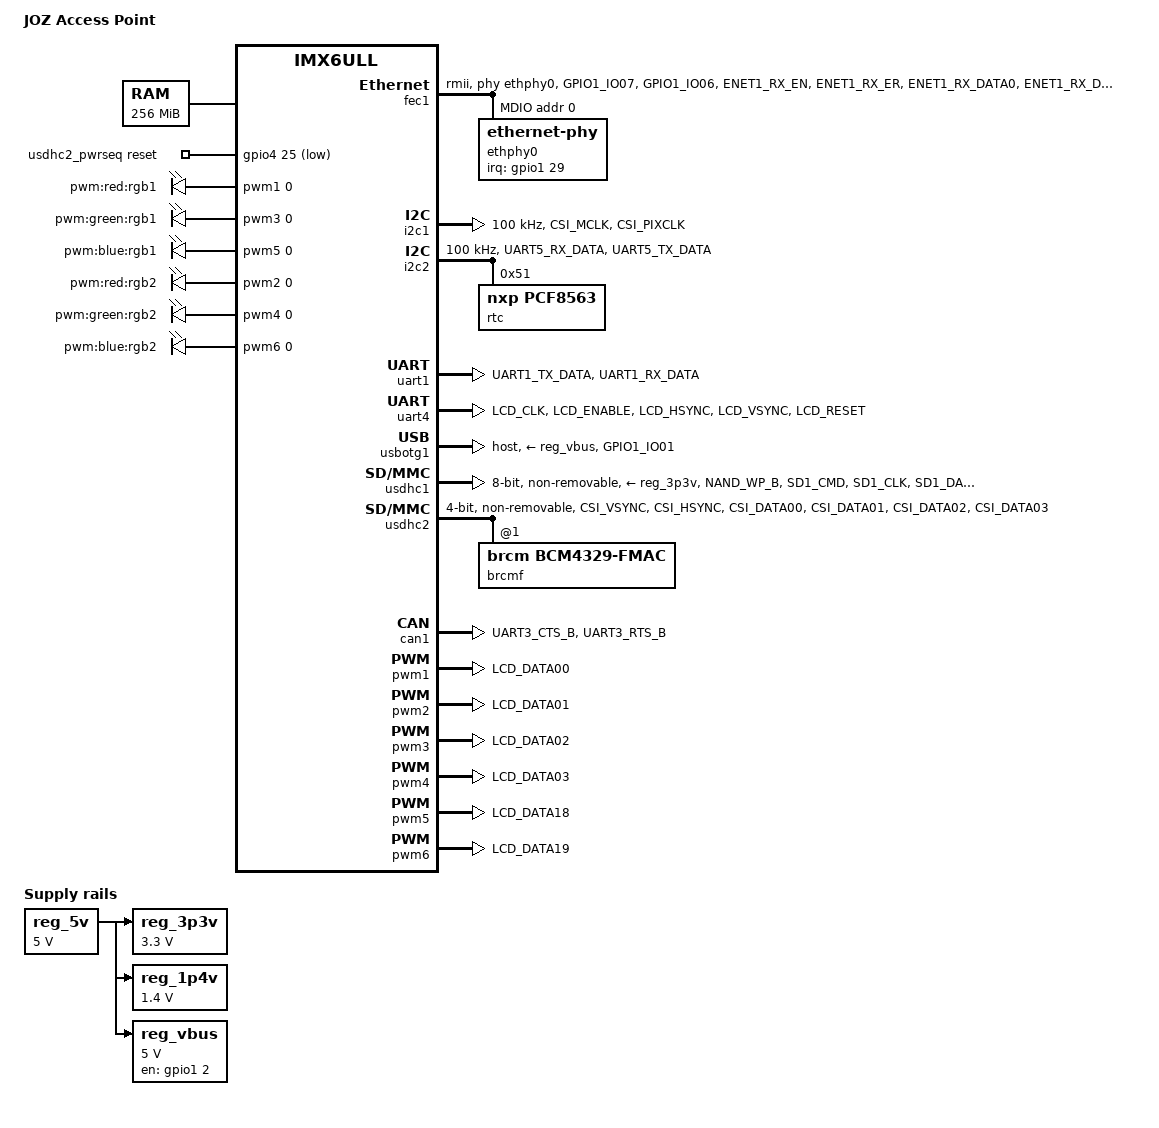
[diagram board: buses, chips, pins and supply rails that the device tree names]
/*
 * Copyright (C) 2020 Protonic Holland
 *
 * This program is free software; you can redistribute it and/or
 * modify it under the terms of the GNU General Public License as
 * published by the Free Software Foundation; either version 2 of
 * the License, or (at your option) any later version.
 *
 * This program is distributed in the hope that it will be useful,
 * but WITHOUT ANY WARRANTY; without even the implied warranty of
 * MERCHANTABILITY or FITNESS FOR A PARTICULAR PURPOSE.  See the
 * GNU General Public License for more details.
 */

/dts-v1/;

#include <arm/nxp/imx/imx6ull.dtsi>
#include <dt-bindings/gpio/gpio.h>

/ {
	model = "JOZ Access Point";
	compatible = "joz,jozacp", "fsl,imx6ull";

	chosen {
		stdout-path = &uart1;
	};

	memory@80000000 {
		device_type = "memory";
		reg = <0x80000000 0x10000000>;
	};

	reg_5v: 5v-regulator {
		compatible = "regulator-fixed";
		regulator-name = "regulator-5V";
		regulator-min-microvolt = <5000000>;
		regulator-max-microvolt = <5000000>;
		regulator-always-on;
	};

	reg_3p3v: 3p3-regulator {
		compatible = "regulator-fixed";
		regulator-name = "regulator-3P3V";
		regulator-min-microvolt = <3300000>;
		regulator-max-microvolt = <3300000>;
		vin-supply = <&reg_5v>;
		regulator-always-on;
	};

	reg_1p4v: 1p4-regulator {
		compatible = "regulator-fixed";
		regulator-name = "regulator-1P4V";
		regulator-min-microvolt = <1400000>;
		regulator-max-microvolt = <1400000>;
		vin-supply = <&reg_5v>;
		regulator-always-on;
	};

	reg_vbus: vbus-regulator {
		pinctrl-names = "default";
		pinctrl-0 = <&pinctrl_vbus>;
		compatible = "regulator-fixed";
		regulator-name = "regulator-vbus";
		regulator-min-microvolt = <5000000>;
		regulator-max-microvolt = <5000000>;
		vin-supply = <&reg_5v>;
		gpio = <&gpio1 2 GPIO_ACTIVE_HIGH>;
		enable-active-high;
	};

	usdhc2_pwrseq: usdhc2-pwrseq {
		compatible = "mmc-pwrseq-simple";
		pinctrl-names = "default";
		pinctrl-0 = <&pinctrl_wlan0_reg_on>;
		reset-gpios = <&gpio4 25 GPIO_ACTIVE_LOW>;
	};

	pwm_leds {
		compatible = "pwm-leds";

		rgb1_red {
			label = "pwm:red:rgb1";
			pwms = <&pwm1 0 10000000 0>;
			max-brightness = <255>;
		};

		rgb1_green {
			label = "pwm:green:rgb1";
			pwms = <&pwm3 0 10000000 0>;
			max-brightness = <255>;
		};

		rgb1_blue {
			label = "pwm:blue:rgb1";
			pwms = <&pwm5 0 10000000 0>;
			max-brightness = <255>;
			linux,default-trigger = "heartbeat";
		};

		rgb2_red {
			label = "pwm:red:rgb2";
			pwms = <&pwm2 0 10000000 0>;
			max-brightness = <255>;
		};

		rgb2_green {
			label = "pwm:green:rgb2";
			pwms = <&pwm4 0 10000000 0>;
			max-brightness = <255>;
			linux,default-trigger = "netdev";
		};

		rgb2_blue {
			label = "pwm:blue:rgb2";
			pwms = <&pwm6 0 10000000 0>;
			max-brightness = <255>;
		};
	};
};

&cpu0 {
	clock-frequency = <792000000>;
};

&iomuxc {
	pinctrl-names = "default";
	pinctrl-0 = <&pinctrl_hog>;

	pinctrl_hog: hoggrp {
		fsl,pins = <
			/* HW Revision */
			MX6UL_PAD_ENET2_RX_DATA0__GPIO2_IO08	0x1b0b0
			MX6UL_PAD_ENET2_RX_DATA1__GPIO2_IO09	0x1b0b0
			MX6UL_PAD_ENET2_RX_EN__GPIO2_IO10	0x1b0b0

			/* HW ID */
			MX6UL_PAD_ENET2_TX_DATA0__GPIO2_IO11	0x1b0b0
			MX6UL_PAD_ENET2_TX_DATA1__GPIO2_IO12	0x1b0b0
			MX6UL_PAD_ENET2_TX_EN__GPIO2_IO13	0x1b0b0
			MX6UL_PAD_ENET2_TX_CLK__GPIO2_IO14	0x1b0b0
			MX6UL_PAD_ENET2_RX_ER__GPIO2_IO15	0x1b0b0

			/* Digital inputs */
			MX6UL_PAD_GPIO1_IO03__GPIO1_IO03	0x11000
			MX6UL_PAD_GPIO1_IO04__GPIO1_IO04	0x11000
			MX6UL_PAD_GPIO1_IO05__GPIO1_IO05	0x11000
			MX6UL_PAD_GPIO1_IO08__GPIO1_IO08	0x11000
			MX6UL_PAD_GPIO1_IO09__GPIO1_IO09	0x11000

			/* Isolated outputs */
			MX6UL_PAD_UART2_TX_DATA__GPIO1_IO20	0x01020
			MX6UL_PAD_UART2_RX_DATA__GPIO1_IO21	0x01020
			MX6UL_PAD_UART2_RTS_B__GPIO1_IO23	0x01020
			MX6UL_PAD_UART3_TX_DATA__GPIO1_IO24	0x01020
			MX6UL_PAD_UART3_RX_DATA__GPIO1_IO25	0x01020
		>;
	};

	pinctrl_enet1: enet1grp {
		fsl,pins = <
			MX6UL_PAD_GPIO1_IO07__ENET1_MDC	 0x1b0b0
			MX6UL_PAD_GPIO1_IO06__ENET1_MDIO	0x1b0b0
			MX6UL_PAD_ENET1_RX_EN__ENET1_RX_EN	0x1b0b0
			MX6UL_PAD_ENET1_RX_ER__ENET1_RX_ER	0x1b0b0
			MX6UL_PAD_ENET1_RX_DATA0__ENET1_RDATA00	0x1b0b0
			MX6UL_PAD_ENET1_RX_DATA1__ENET1_RDATA01	0x1b0b0
			MX6UL_PAD_ENET1_TX_EN__ENET1_TX_EN	0x1b0b0
			MX6UL_PAD_ENET1_TX_DATA0__ENET1_TDATA00	0x1b0b0
			MX6UL_PAD_ENET1_TX_DATA1__ENET1_TDATA01	0x1b0b0
			MX6UL_PAD_ENET1_TX_CLK__ENET1_REF_CLK1	0x4001b031
		>;
	};

	pinctrl_can1: can1grp {
		fsl,pins = <
			MX6UL_PAD_UART3_CTS_B__FLEXCAN1_TX	0x1b0b0
			MX6UL_PAD_UART3_RTS_B__FLEXCAN1_RX	0x1b0b0
		>;
	};

	pinctrl_i2c1: i2c1grp {
		fsl,pins = <
			MX6UL_PAD_CSI_MCLK__I2C1_SDA		0x4001f8b1
			MX6UL_PAD_CSI_PIXCLK__I2C1_SCL		0x4001f8b1
		>;
	};

	pinctrl_i2c2: i2c2grp {
		fsl,pins = <
			MX6UL_PAD_UART5_RX_DATA__I2C2_SDA	0x4001f8b1
			MX6UL_PAD_UART5_TX_DATA__I2C2_SCL	0x4001f8b1
		>;
	};

	pinctrl_pwm1: pwm1-grp {
		fsl,pins = <
			MX6UL_PAD_LCD_DATA00__PWM1_OUT		0x01010
		>;
	};

	pinctrl_pwm2: pwm2-grp {
		fsl,pins = <
			MX6UL_PAD_LCD_DATA01__PWM2_OUT		0x01010
		>;
	};

	pinctrl_pwm3: pwm3-grp {
		fsl,pins = <
			MX6UL_PAD_LCD_DATA02__PWM3_OUT		0x01010
		>;
	};

	pinctrl_pwm4: pwm4-grp {
		fsl,pins = <
			MX6UL_PAD_LCD_DATA03__PWM4_OUT		0x01010
		>;
	};

	pinctrl_pwm5: pwm5-grp {
		fsl,pins = <
			MX6UL_PAD_LCD_DATA18__PWM5_OUT		0x01010
		>;
	};

	pinctrl_pwm6: pwm6-grp {
		fsl,pins = <
			MX6UL_PAD_LCD_DATA19__PWM6_OUT		0x01010
		>;
	};

	pinctrl_uart1: uart1grp {
		fsl,pins = <
			MX6UL_PAD_UART1_TX_DATA__UART1_DCE_TX	0x1b0b1
			MX6UL_PAD_UART1_RX_DATA__UART1_DCE_RX	0x1b0b1
		>;
	};

	pinctrl_uart2: uart2grp {
		fsl,pins = <
			MX6UL_PAD_NAND_DATA04__UART2_DCE_TX	0x1b0b0
			MX6UL_PAD_NAND_DATA05__UART2_DCE_RX	0x1b0b0
			MX6UL_PAD_NAND_DATA06__GPIO4_IO08	0x1b0b0
			MX6UL_PAD_NAND_DATA07__GPIO4_IO09	0x1b0b0
		>;
	};

	pinctrl_uart4: uart4grp {
		fsl,pins = <
			MX6UL_PAD_LCD_CLK__UART4_DCE_TX		0x1b0b0
			MX6UL_PAD_LCD_ENABLE__UART4_DCE_RX	0x1b0b0
			MX6UL_PAD_LCD_HSYNC__UART4_DCE_CTS	0x1b0b0
			MX6UL_PAD_LCD_VSYNC__UART4_DCE_RTS	0x1b0b0
			MX6UL_PAD_LCD_RESET__GPIO3_IO04		0x1b0b0
		>;
	};

	pinctrl_vbus: vbus0grp {
		fsl,pins = <
			MX6UL_PAD_GPIO1_IO02__GPIO1_IO02	0x030b0
		>;
	};

	pinctrl_usbotg1: usbotg1grp {
		fsl,pins = <
			MX6UL_PAD_GPIO1_IO01__USB_OTG1_OC	0x1b0b0
		>;
	};

	pinctrl_usdhc1: usdhc1grp {
		fsl,pins = <
			MX6UL_PAD_NAND_WP_B__USDHC1_RESET_B	0x17099
			MX6UL_PAD_SD1_CMD__USDHC1_CMD		0x1f099
			MX6UL_PAD_SD1_CLK__USDHC1_CLK		0x10099
			MX6UL_PAD_SD1_DATA0__USDHC1_DATA0	0x17099
			MX6UL_PAD_SD1_DATA1__USDHC1_DATA1	0x17099
			MX6UL_PAD_SD1_DATA2__USDHC1_DATA2	0x17099
			MX6UL_PAD_SD1_DATA3__USDHC1_DATA3	0x17099
			MX6UL_PAD_NAND_READY_B__USDHC1_DATA4	0x17099
			MX6UL_PAD_NAND_CE0_B__USDHC1_DATA5	0x17099
			MX6UL_PAD_NAND_CE1_B__USDHC1_DATA6	0x17099
			MX6UL_PAD_NAND_CLE__USDHC1_DATA7	0x17099
		>;
	};

	pinctrl_usdhc2: usdhc2grp {
		fsl,pins = <
			MX6UL_PAD_CSI_VSYNC__USDHC2_CLK		0x100b9
			MX6UL_PAD_CSI_HSYNC__USDHC2_CMD		0x170b9
			MX6UL_PAD_CSI_DATA00__USDHC2_DATA0	0x170b9
			MX6UL_PAD_CSI_DATA01__USDHC2_DATA1	0x170b9
			MX6UL_PAD_CSI_DATA02__USDHC2_DATA2	0x170b9
			MX6UL_PAD_CSI_DATA03__USDHC2_DATA3	0x170b9
		>;
	};

	pinctrl_wlan0_reg_on: wlan0-regon-grp0 {
		fsl,pins = <
			MX6UL_PAD_CSI_DATA04__GPIO4_IO25	0x03020
		>;
	};

	pinctrl_wlan0_host_wake: wlan0-host_wake-grp0 {
		fsl,pins = <
			MX6UL_PAD_CSI_DATA05__GPIO4_IO26	0x1b0b0
		>;
	};

	pinctrl_bt0_reg_on: bt0-regon-grp0 {
		fsl,pins = <
			MX6UL_PAD_CSI_DATA07__GPIO4_IO28	0x03020
		>;
	};

	pinctrl_bt0_host_wake: bt0-host_wake-grp0 {
		fsl,pins = <
			MX6UL_PAD_CSI_DATA06__GPIO4_IO27	0x1b0b0
		>;
	};

	pinctrl_etnphy0_rst: etnphy-rstgrp-grp0 {
		fsl,pins = <
			MX6UL_PAD_UART4_TX_DATA__GPIO1_IO28	0x038b0
		>;
	};

	pinctrl_etnphy0_int: etnphy-intgrp-grp0 {
		fsl,pins = <
			MX6UL_PAD_UART4_RX_DATA__GPIO1_IO29	0x170b0
		>;
	};
};

&iomuxc_snvs {
	pinctrl-names = "default";
	pinctrl-0 = <&pinctrl_snvs_hog>;

	pinctrl_snvs_hog: snvs-hog-grp {
		fsl,pins = <
			/* Digital outputs */
			MX6ULL_PAD_SNVS_TAMPER2__GPIO5_IO02	0x00020
			MX6ULL_PAD_SNVS_TAMPER3__GPIO5_IO03	0x00020
			MX6ULL_PAD_SNVS_TAMPER4__GPIO5_IO04	0x00020
			MX6ULL_PAD_SNVS_TAMPER5__GPIO5_IO05	0x00020
			MX6ULL_PAD_SNVS_TAMPER6__GPIO5_IO06	0x00020

			/* Digital outputs fault feedback */
			MX6ULL_PAD_SNVS_TAMPER0__GPIO5_IO00	0x17000
			MX6ULL_PAD_SNVS_TAMPER1__GPIO5_IO01	0x17000
			MX6ULL_PAD_SNVS_TAMPER7__GPIO5_IO07	0x17000
			MX6ULL_PAD_SNVS_TAMPER8__GPIO5_IO08	0x17000
			MX6ULL_PAD_SNVS_TAMPER9__GPIO5_IO09	0x17000
		>;
	};
};

&fec1 {
	pinctrl-names = "default";
	pinctrl-0 = <&pinctrl_enet1 &pinctrl_etnphy0_rst>;
	phy-mode = "rmii";
	phy-handle = <&ethphy0>;
	phy-reset-gpios = <&gpio1 28 GPIO_ACTIVE_LOW>;
	phy-reset-duration = <11>;
	status = "okay";

	mdio {
		#address-cells = <1>;
		#size-cells = <0>;

		ethphy0: ethernet-phy@0 {
			reg = <0>;
			clocks = <&clks IMX6UL_CLK_ENET_REF>;
			clock-names = "rmii-ref";
			interrupt-parent = <&gpio1>;
			interrupts = <29 IRQ_TYPE_LEVEL_LOW>;
		};
	};
};

&i2c1 {
	pinctrl-names = "default";
	pinctrl-0 = <&pinctrl_i2c1>;
	clock-frequency = <100000>;
	status = "okay";
};

&i2c2 {
	pinctrl-names = "default";
	pinctrl-0 = <&pinctrl_i2c2>;
	clock-frequency = <100000>;
	status = "okay";

	rtc: pcf8563@51 {
		compatible = "nxp,pcf8563";
		reg = <0x51>;
	};
};

&snvs_rtc {
	status = "disabled";
};

&uart1 {
	pinctrl-names = "default";
	pinctrl-0 = <&pinctrl_uart1>;
	status = "okay";
};

&uart2 {
	pinctrl-names = "default";
	pinctrl-0 = <&pinctrl_uart2>;
	cts-gpios = <&gpio4 8 GPIO_ACTIVE_LOW>;
	rts-gpios = <&gpio4 9 GPIO_ACTIVE_LOW>;
	status = "disabled";

	bluetooth {
		compatible = "brcm,bcm43438-bt";
		pinctrl-names = "default";
		pinctrl-0 = <&pinctrl_bt0_reg_on &pinctrl_bt0_host_wake>;
		host-wakeup-gpios = <&gpio4 27 GPIO_ACTIVE_HIGH>;
		shutdown-gpios = <&gpio4 28 GPIO_ACTIVE_HIGH>;
		vbat-supply = <&reg_3p3v>;
		vddio-supply = <&reg_3p3v>;
		max-speed = <921600>;
	};
};

&uart4 {
	pinctrl-names = "default";
	pinctrl-0 = <&pinctrl_uart4>;
	dtr-gpios = <&gpio3 4 GPIO_ACTIVE_LOW>;
	uart-has-rtscts;
	status = "okay";
};

&usbotg1 {
	pinctrl-names = "default";
	pinctrl-0 = <&pinctrl_usbotg1>;
	vbus-supply = <&reg_vbus>;
	dr_mode = "host";
	over-current-active-low;
	status = "okay";
};

&usdhc1 {
	pinctrl-names = "default";
	pinctrl-0 = <&pinctrl_usdhc1>;
	vmmc-supply = <&reg_3p3v>;
	bus-width = <8>;
	no-1-8-v;
	non-removable;
	cap-mmc-hw-reset;
	status = "okay";
};

&usdhc2 {
	pinctrl-names = "default";
	pinctrl-0 = <&pinctrl_usdhc2>;
	mmc-pwrseq = <&usdhc2_pwrseq>;
	bus-width = <4>;
	no-1-8-v;
	non-removable;
	pm-ignore-notify;
	status = "okay";

	#address-cells = <1>;
	#size-cells = <0>;

	brcmf: bcrmf@1 {
		reg = <1>;
		compatible = "brcm,bcm4329-fmac";
		pinctrl-names = "default";
		pinctrl-0 = <&pinctrl_wlan0_host_wake>;
		//interrupt-parent = <&gpio4>;
		//interrupts = <26 IRQ_TYPE_LEVEL_LOW>;
		//interrupt-names = "host-wake";
	};
};

&can1 {
	pinctrl-names = "default";
	pinctrl-0 = <&pinctrl_can1>;
	status = "okay";
};

&pwm1 {
	pinctrl-names = "default";
	pinctrl-0 = <&pinctrl_pwm1>;
	status = "okay";
};

&pwm2 {
	pinctrl-names = "default";
	pinctrl-0 = <&pinctrl_pwm2>;
	status = "okay";
};

&pwm3 {
	pinctrl-names = "default";
	pinctrl-0 = <&pinctrl_pwm3>;
	status = "okay";
};

&pwm4 {
	pinctrl-names = "default";
	pinctrl-0 = <&pinctrl_pwm4>;
	status = "okay";
};

&pwm5 {
	pinctrl-names = "default";
	pinctrl-0 = <&pinctrl_pwm5>;
	status = "okay";
};

&pwm6 {
	pinctrl-names = "default";
	pinctrl-0 = <&pinctrl_pwm6>;
	status = "okay";
};
